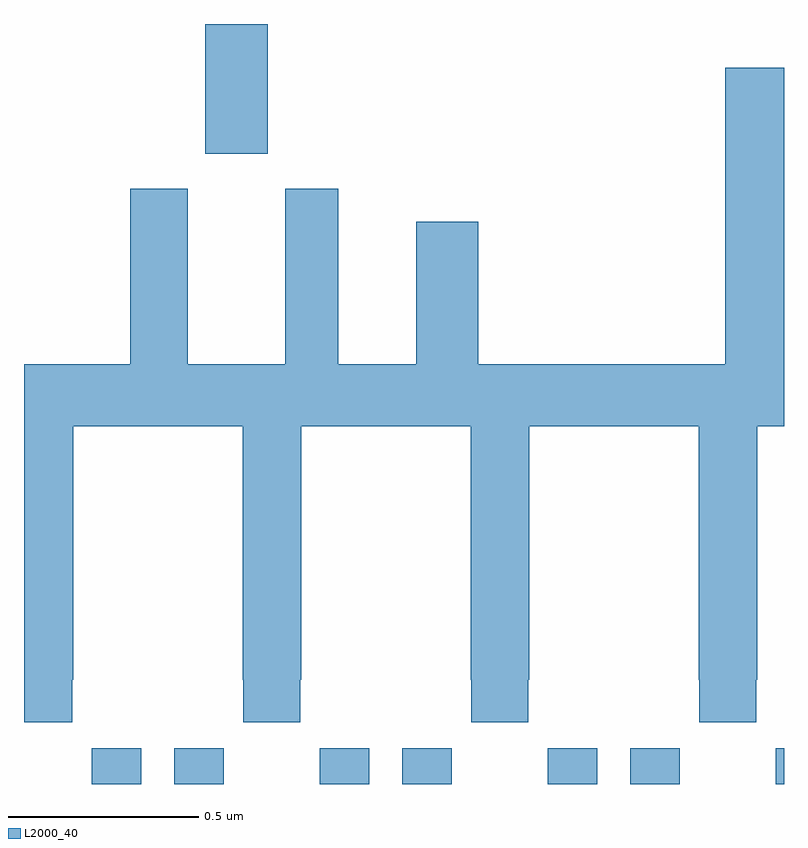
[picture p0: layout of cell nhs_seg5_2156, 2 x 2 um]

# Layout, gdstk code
import gdstk
lib = gdstk.Library(unit=1e-6, precision=1e-09)
def R(c, l, rs):  # rectangles x0, y0, x1, y1
    for r in rs: c.add(gdstk.rectangle(r[:2], r[2:], *l))
def P(c, l, *ps):  # polygons
    for p in ps: c.add(gdstk.Polygon(p, *l))
L2000_40 = (2000, 40)

nhs_seg5_2156 = lib.new_cell('nhs_seg5_2156')
R(nhs_seg5_2156, L2000_40, [(140.178,875.799,140.308,875.893), (140.396,875.799,140.526,875.893), (140.778,875.799,140.908,875.893), (140.996,875.799,141.126,875.893), (141.378,875.799,141.508,875.893), (141.596,875.799,141.726,875.893), (141.978,875.799,142,875.893), (140.477,877.458,140.641,877.799)])
P(nhs_seg5_2156, L2000_40, [(140.127,876.073),(140.13,876.073),(140.13,876.74),(140.575,876.74),(140.575,876.073),(140.577,876.073),(140.577,875.961),(140.727,875.961),(140.727,876.073),(140.73,876.073),(140.73,876.74),(141.175,876.74),(141.175,876.073),(141.177,876.073),(141.177,875.961),(141.327,875.961),(141.327,876.073),(141.33,876.073),(141.33,876.74),(141.775,876.74),(141.775,876.073),(141.777,876.073),(141.777,875.961),(141.927,875.961),(141.927,876.073),(141.93,876.073),(141.93,876.74),(142,876.74),(142,877.684),(141.845,877.684),(141.845,876.904),(141.196,876.904),(141.196,877.279),(141.032,877.279),(141.032,876.904),(140.827,876.904),(140.827,877.366),(140.687,877.366),(140.687,876.904),(140.431,876.904),(140.431,877.366),(140.279,877.366),(140.279,876.904),(140,876.904),(140,875.961),(140.127,875.961)])

lib.write_gds('nhs_seg5_2156.gds')
